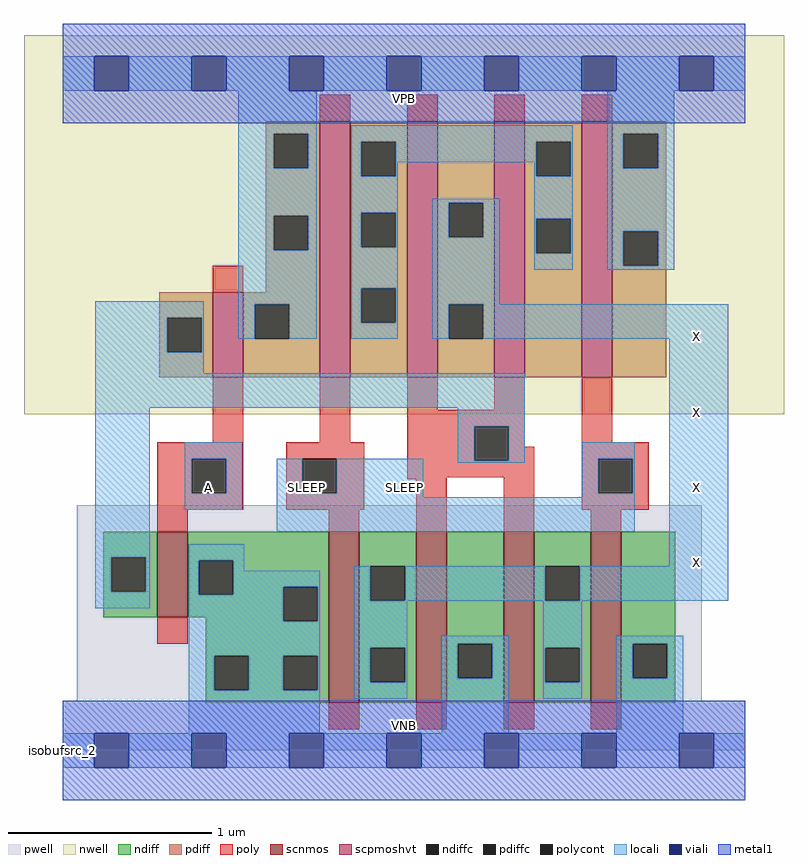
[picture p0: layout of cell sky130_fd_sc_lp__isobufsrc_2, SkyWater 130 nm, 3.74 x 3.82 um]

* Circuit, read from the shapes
.subckt sky130_fd_sc_lp__isobufsrc_2 A SLEEP VGND VNB VPB VPWR X
XM1 VGND A n1 VNB sky130_fd_pr__nfet_01v8 w=0.42 l=0.15
XM2 X SLEEP VGND VNB sky130_fd_pr__nfet_01v8 w=0.84 l=0.15 m=2
XM3 VGND n1 X VNB sky130_fd_pr__nfet_01v8 w=0.84 l=0.15 m=2
XM4 VPWR A n1 VPB sky130_fd_pr__pfet_01v8_hvt w=0.42 l=0.15
XM5 n2 SLEEP VPWR VPB sky130_fd_pr__pfet_01v8_hvt w=1.26 l=0.15 m=2
XM6 X n1 n2 VPB sky130_fd_pr__pfet_01v8_hvt w=1.26 l=0.15 m=2
.ends

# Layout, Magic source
magic
tech sky130A
magscale 1 2
<< nwell >>
rect -38 331 710 704
<< pwell >>
rect 14 49 629 241
rect 0 0 672 49
<< scnmos >>
rect 93 131 123 215
rect 262 47 292 215
rect 348 47 378 215
rect 434 47 464 215
rect 520 47 550 215
<< scpmoshvt >>
rect 148 367 178 451
rect 253 367 283 619
rect 339 367 369 619
rect 425 367 455 619
rect 511 367 541 619
<< ndiff >>
rect 40 190 93 215
rect 40 156 48 190
rect 82 156 93 190
rect 40 131 93 156
rect 123 187 262 215
rect 123 153 134 187
rect 168 161 262 187
rect 168 153 217 161
rect 123 131 217 153
rect 141 127 217 131
rect 251 127 262 161
rect 141 93 262 127
rect 141 59 149 93
rect 183 59 217 93
rect 251 59 262 93
rect 141 47 262 59
rect 292 181 348 215
rect 292 147 303 181
rect 337 147 348 181
rect 292 101 348 147
rect 292 67 303 101
rect 337 67 348 101
rect 292 47 348 67
rect 378 105 434 215
rect 378 71 389 105
rect 423 71 434 105
rect 378 47 434 71
rect 464 181 520 215
rect 464 147 475 181
rect 509 147 520 181
rect 464 101 520 147
rect 464 67 475 101
rect 509 67 520 101
rect 464 47 520 67
rect 550 105 603 215
rect 550 71 561 105
rect 595 71 603 105
rect 550 47 603 71
<< pdiff >>
rect 200 607 253 619
rect 200 573 208 607
rect 242 573 253 607
rect 200 526 253 573
rect 200 492 208 526
rect 242 492 253 526
rect 200 451 253 492
rect 95 426 148 451
rect 95 392 103 426
rect 137 392 148 426
rect 95 367 148 392
rect 178 439 253 451
rect 178 405 189 439
rect 223 405 253 439
rect 178 367 253 405
rect 283 599 339 619
rect 283 565 294 599
rect 328 565 339 599
rect 283 529 339 565
rect 283 495 294 529
rect 328 495 339 529
rect 283 455 339 495
rect 283 421 294 455
rect 328 421 339 455
rect 283 367 339 421
rect 369 539 425 619
rect 369 505 380 539
rect 414 505 425 539
rect 369 439 425 505
rect 369 405 380 439
rect 414 405 425 439
rect 369 367 425 405
rect 455 599 511 619
rect 455 565 466 599
rect 500 565 511 599
rect 455 523 511 565
rect 455 489 466 523
rect 500 489 511 523
rect 455 367 511 489
rect 541 607 594 619
rect 541 573 552 607
rect 586 573 594 607
rect 541 511 594 573
rect 541 477 552 511
rect 586 477 594 511
rect 541 367 594 477
<< ndiffc >>
rect 48 156 82 190
rect 134 153 168 187
rect 217 127 251 161
rect 149 59 183 93
rect 217 59 251 93
rect 303 147 337 181
rect 303 67 337 101
rect 389 71 423 105
rect 475 147 509 181
rect 475 67 509 101
rect 561 71 595 105
<< pdiffc >>
rect 208 573 242 607
rect 208 492 242 526
rect 103 392 137 426
rect 189 405 223 439
rect 294 565 328 599
rect 294 495 328 529
rect 294 421 328 455
rect 380 505 414 539
rect 380 405 414 439
rect 466 565 500 599
rect 466 489 500 523
rect 552 573 586 607
rect 552 477 586 511
<< poly >>
rect 253 619 283 645
rect 339 619 369 645
rect 425 619 455 645
rect 511 619 541 645
rect 148 451 178 477
rect 148 303 178 367
rect 253 303 283 367
rect 339 335 369 367
rect 425 335 455 367
rect 339 319 455 335
rect 93 287 178 303
rect 93 253 127 287
rect 161 253 178 287
rect 93 237 178 253
rect 220 287 297 303
rect 220 253 236 287
rect 270 253 297 287
rect 339 285 405 319
rect 439 299 455 319
rect 511 303 541 367
rect 439 285 464 299
rect 339 269 464 285
rect 339 267 378 269
rect 220 237 297 253
rect 93 215 123 237
rect 262 215 292 237
rect 348 215 378 267
rect 434 215 464 269
rect 511 287 577 303
rect 511 253 527 287
rect 561 253 577 287
rect 511 237 577 253
rect 520 215 550 237
rect 93 105 123 131
rect 262 21 292 47
rect 348 21 378 47
rect 434 21 464 47
rect 520 21 550 47
<< polycont >>
rect 127 253 161 287
rect 236 253 270 287
rect 405 285 439 319
rect 527 253 561 287
<< locali >>
rect 0 649 31 683
rect 65 649 127 683
rect 161 649 223 683
rect 257 649 319 683
rect 353 649 415 683
rect 449 649 511 683
rect 545 649 607 683
rect 641 649 672 683
rect 173 607 250 649
rect 173 573 208 607
rect 242 573 250 607
rect 173 526 250 573
rect 173 492 208 526
rect 242 492 250 526
rect 32 426 139 442
rect 32 392 103 426
rect 137 392 139 426
rect 173 439 250 492
rect 173 405 189 439
rect 223 405 250 439
rect 284 599 502 615
rect 284 565 294 599
rect 328 579 466 599
rect 328 565 330 579
rect 284 529 330 565
rect 464 565 466 579
rect 500 565 502 599
rect 284 495 294 529
rect 328 495 330 529
rect 284 455 330 495
rect 284 421 294 455
rect 328 421 330 455
rect 284 405 330 421
rect 364 539 430 543
rect 364 505 380 539
rect 414 505 430 539
rect 364 439 430 505
rect 464 523 502 565
rect 464 489 466 523
rect 500 489 502 523
rect 464 473 502 489
rect 536 607 602 649
rect 536 573 552 607
rect 586 573 602 607
rect 536 511 602 573
rect 536 477 552 511
rect 586 477 602 511
rect 536 473 602 477
rect 364 405 380 439
rect 414 405 655 439
rect 32 371 139 392
rect 32 337 455 371
rect 32 190 86 337
rect 389 319 455 337
rect 120 287 177 303
rect 120 253 127 287
rect 161 253 177 287
rect 120 237 177 253
rect 211 253 236 287
rect 270 253 355 287
rect 389 285 405 319
rect 439 285 455 319
rect 389 283 455 285
rect 511 287 563 303
rect 211 249 355 253
rect 511 253 527 287
rect 561 253 563 287
rect 511 249 563 253
rect 211 215 563 249
rect 32 156 48 190
rect 82 156 86 190
rect 32 140 86 156
rect 124 187 179 203
rect 124 153 134 187
rect 168 177 179 187
rect 597 181 655 405
rect 168 161 253 177
rect 168 153 217 161
rect 124 127 217 153
rect 251 127 253 161
rect 124 93 253 127
rect 124 59 149 93
rect 183 59 217 93
rect 251 59 253 93
rect 124 17 253 59
rect 287 147 303 181
rect 337 147 475 181
rect 509 147 655 181
rect 287 101 339 147
rect 287 67 303 101
rect 337 67 339 101
rect 287 51 339 67
rect 373 105 439 113
rect 373 71 389 105
rect 423 71 439 105
rect 373 17 439 71
rect 473 101 511 147
rect 473 67 475 101
rect 509 67 511 101
rect 473 51 511 67
rect 545 105 611 113
rect 545 71 561 105
rect 595 71 611 105
rect 545 17 611 71
rect 0 -17 31 17
rect 65 -17 127 17
rect 161 -17 223 17
rect 257 -17 319 17
rect 353 -17 415 17
rect 449 -17 511 17
rect 545 -17 607 17
rect 641 -17 672 17
<< viali >>
rect 31 649 65 683
rect 127 649 161 683
rect 223 649 257 683
rect 319 649 353 683
rect 415 649 449 683
rect 511 649 545 683
rect 607 649 641 683
rect 31 -17 65 17
rect 127 -17 161 17
rect 223 -17 257 17
rect 319 -17 353 17
rect 415 -17 449 17
rect 511 -17 545 17
rect 607 -17 641 17
<< metal1 >>
rect 0 683 672 715
rect 0 649 31 683
rect 65 649 127 683
rect 161 649 223 683
rect 257 649 319 683
rect 353 649 415 683
rect 449 649 511 683
rect 545 649 607 683
rect 641 649 672 683
rect 0 617 672 649
rect 0 17 672 49
rect 0 -17 31 17
rect 65 -17 127 17
rect 161 -17 223 17
rect 257 -17 319 17
rect 353 -17 415 17
rect 449 -17 511 17
rect 545 -17 607 17
rect 641 -17 672 17
rect 0 -49 672 -17
<< labels >>
flabel pwell s 0 0 672 49 0 FreeSans 200 0 0 0 VNB
port 4 nsew ground bidirectional
flabel nwell s 0 617 672 666 0 FreeSans 200 0 0 0 VPB
port 5 nsew power bidirectional
rlabel comment s 0 0 0 0 4 isobufsrc_2
flabel metal1 s 0 617 672 666 0 FreeSans 340 0 0 0 VPWR
port 6 nsew power bidirectional
flabel metal1 s 0 0 672 49 0 FreeSans 340 0 0 0 VGND
port 3 nsew ground bidirectional
flabel locali s 607 168 641 202 0 FreeSans 340 0 0 0 X
port 7 nsew signal output
flabel locali s 607 242 641 276 0 FreeSans 340 0 0 0 X
port 7 nsew signal output
flabel locali s 127 242 161 276 0 FreeSans 340 0 0 0 A
port 1 nsew signal input
flabel locali s 223 242 257 276 0 FreeSans 340 0 0 0 SLEEP
port 2 nsew signal input
flabel locali s 319 242 353 276 0 FreeSans 340 0 0 0 SLEEP
port 2 nsew signal input
flabel locali s 607 390 641 424 0 FreeSans 340 0 0 0 X
port 7 nsew signal output
flabel locali s 607 316 641 350 0 FreeSans 340 0 0 0 X
port 7 nsew signal output
<< properties >>
string LEFsite unit
string LEFclass CORE
string FIXED_BBOX 0 0 672 666
string GDS_FILE $PDKPATH/libs.ref/sky130_fd_sc_lp/gds/sky130_fd_sc_lp.gds
string LEFsymmetry X Y
string GDS_END 1259016
string GDS_START 1252668
<< end >>
